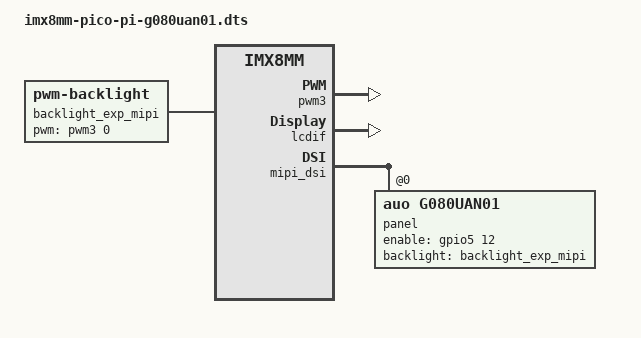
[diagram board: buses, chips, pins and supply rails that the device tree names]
#if 0
/*
 * Copyright 2018 Technexion Ltd.
 * Copyright 2018 NXP
 *
 * Author: Richard Hu <richard.hu@technexion.com>
 *
 * This program is free software; you can redistribute it and/or
 * modify it under the terms of the GNU General Public License
 * as published by the Free Software Foundation; either version 2
 * of the License, or (at your option) any later version.
 *
 * This program is distributed in the hope that it will be useful,
 * but WITHOUT ANY WARRANTY; without even the implied warranty of
 * MERCHANTABILITY or FITNESS FOR A PARTICULAR PURPOSE.  See the
 * GNU General Public License for more details.
 */

#include "imx8mm-pico-pi.dts"

/ {
	backlight_mipi: backlight_mipi{
		status = "okay";
	};
};

&mipi_dsi {
	status = "okay";

	panel@0 {
		// compatible = "bananapi,lhr050h41", "ilitek,ili9881c";
		compatible = "auo,g080uan01";
		// compatible = "auo,g101uan02";
		pinctrl-0 = <&pinctrl_mipi_dsi_rst>;
		enable-gpios = <&gpio3 9 GPIO_ACTIVE_LOW>;
		backlight = <&backlight_mipi>;

		//reset-gpio = <&gpio3 9 GPIO_ACTIVE_LOW>;
		reg = <0>;
		dsi-lanes = <4>;
		status = "okay";
	};
};

&i2c3 {
	polytouch: edt-ft5x06@38 {
		compatible = "edt,edt-ft5x06";
		reg = <0x38>;
		pinctrl-names = "default";
		pinctrl-0 = <&pinctrl_touch_irq &pinctrl_touch_rst>;
		interrupt-parent = <&gpio1>;
		interrupts = <7 IRQ_TYPE_EDGE_FALLING>;
		reset-gpios = <&gpio4 28 GPIO_ACTIVE_LOW>;
		touchscreen-size-x = <720>;
		touchscreen-size-y = <1280>;
	};
};

#else
/*
 * Copyright 2018 Technexion Ltd.
 * Copyright 2018 NXP
 *
 * Author: Richard Hu <richard.hu@technexion.com>
 *
 * This program is free software; you can redistribute it and/or
 * modify it under the terms of the GNU General Public License
 * as published by the Free Software Foundation; either version 2
 * of the License, or (at your option) any later version.
 *
 * This program is distributed in the hope that it will be useful,
 * but WITHOUT ANY WARRANTY; without even the implied warranty of
 * MERCHANTABILITY or FITNESS FOR A PARTICULAR PURPOSE.  See the
 * GNU General Public License for more details.
 */

//#include "pico-imx8mm.dts"

#include "imx8mm-pico-pi.dts"


/ {
       backlight_exp_mipi: backlight_exp_mipi {
               compatible = "pwm-backlight";
               pwms = <&pwm3 0 50000 0>;
               brightness-levels = <0 36 72 108 144 180 216 255>;
               default-brightness-level = <6>;
               status = "okay";
       };
};

&iomuxc {
       pinctrl-names = "default";

       imx8mm-pico {
               pinctrl_exp_dsi_pwm: exp_dsi_pwm {
                       fsl,pins = <
                               MX8MM_IOMUXC_SPDIF_TX_PWM3_OUT          0x16    /* Expansion DSI PWM */
                       >;
               };

               pinctrl_exp_mipi_dsi_en: exp_mipi_dsi_en {
                       fsl,pins = <
                               MX8MM_IOMUXC_ECSPI2_MISO_GPIO5_IO12     0x16   /* Enable pin for MIPI DSI panel */
                       >;
               };
       };
};

&pwm3 {
       pinctrl-names = "default";
       pinctrl-0 = <&pinctrl_exp_dsi_pwm>;
       status = "okay";
};


&lcdif {
	status = "okay";
	assigned-clocks = <&clk IMX8MM_CLK_LCDIF_PIXEL_SRC>,
				  <&clk IMX8MM_CLK_DISP_AXI_SRC>,
				  <&clk IMX8MM_CLK_DISP_APB_SRC>;

	assigned-clock-parents = <&clk IMX8MM_VIDEO_PLL1_OUT>,
				 <&clk IMX8MM_SYS_PLL2_1000M>,
				 <&clk IMX8MM_SYS_PLL1_800M>;
	assigned-clock-rate = <486000000> /*<594000000>*/, <500000000>, <200000000>;
};


&mipi_dsi {
       status = "okay";

	assigned-clocks = <&clk IMX8MM_CLK_DSI_CORE_SRC>,
				  <&clk IMX8MM_CLK_DSI_PHY_REF_SRC>;
	assigned-clock-parents = <&clk IMX8MM_SYS_PLL1_266M>,
				 <&clk IMX8MM_VIDEO_PLL1_OUT>;
	assigned-clock-rates = <266000000>, /*<594000000>*/<486000000>;

       panel@0 {
	      compatible = "auo,g080uan01";

               reg = <0>;
               pinctrl-0 = <&pinctrl_exp_mipi_dsi_en>;
               enable-gpios = <&gpio5 12 GPIO_ACTIVE_HIGH>;
               backlight = <&backlight_exp_mipi>;
               status = "okay";
       };


};
#endif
